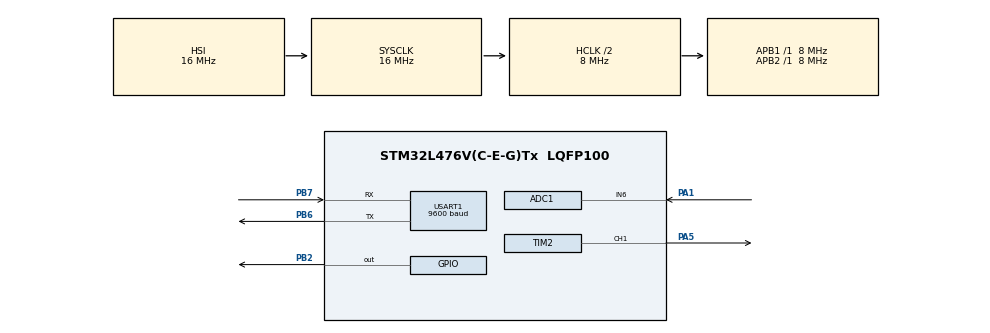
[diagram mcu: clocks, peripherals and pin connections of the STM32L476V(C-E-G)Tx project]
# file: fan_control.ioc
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ADC1.Channel-5\#ChannelRegularConversion=ADC_CHANNEL_6
ADC1.NbrOfConversionFlag=1
ADC1.OffsetNumber-5\#ChannelRegularConversion=ADC_OFFSET_NONE
ADC1.Rank-5\#ChannelRegularConversion=1
ADC1.Resolution=ADC_RESOLUTION_12B
ADC1.SamplingTime-5\#ChannelRegularConversion=ADC_SAMPLETIME_2CYCLES_5
ADC1.master=1
Mcu.Family=STM32L4
Mcu.Name=STM32L476V(C-E-G)Tx
Mcu.Package=LQFP100
NVIC.PriorityGroup=NVIC_PRIORITYGROUP_4
NVIC.TIM8_UP_IRQn=true\:2\:0\:true\:false\:true\:true\:true\:true
NVIC.USART1_IRQn=true\:2\:0\:true\:true\:true\:1\:true\:true\:true
PA1.Signal=ADCx_IN6
PA5.Signal=S_TIM2_CH1
PB2.Signal=GPIO_Output
PB6.Mode=Asynchronous
PB6.Signal=USART1_TX
PB7.Mode=Asynchronous
PB7.Signal=USART1_RX
PH0-OSC_IN\ (PH0).Mode=HSE-External-Oscillator
PH0-OSC_IN\ (PH0).Signal=RCC_OSC_IN
PH1-OSC_OUT\ (PH1).Mode=HSE-External-Oscillator
PH1-OSC_OUT\ (PH1).Signal=RCC_OSC_OUT
ProjectManager.HeapSize=0x200
ProjectManager.StackSize=0x400
ProjectManager.TargetToolchain=STM32CubeIDE
RCC.ADCFreq_Value=64000000
RCC.AHBCLKDivider=RCC_SYSCLK_DIV2
RCC.AHBFreq_Value=8000000
RCC.APB1Freq_Value=8000000
RCC.APB1TimFreq_Value=8000000
RCC.APB2Freq_Value=8000000
RCC.APB2TimFreq_Value=8000000
RCC.CortexFreq_Value=8000000
RCC.HCLKFreq_Value=8000000
RCC.HSE_VALUE=8000000
RCC.HSI_VALUE=16000000
RCC.LSE_VALUE=32768
RCC.MSI_VALUE=4000000
RCC.PLLSourceVirtual=RCC_PLLSOURCE_HSI
RCC.SYSCLKFreq_VALUE=16000000
RCC.SYSCLKSource=RCC_SYSCLKSOURCE_HSI
RCC.USBFreq_Value=64000000
RCC.VCOOutputFreq_Value=128000000
SH.ADCx_IN6.0=ADC1_IN6,IN6-Single-Ended
SH.S_TIM2_CH1.0=TIM2_CH1,PWM Generation1 CH1
TIM2.Channel-PWM\ Generation1\ CH1=TIM_CHANNEL_1
TIM2.Period=999
TIM2.Prescaler=79
TIM8.Period=49999
TIM8.Prescaler=79
USART1.BaudRate=9600
USART1.VirtualMode-Asynchronous=VM_ASYNC
VP_TIM2_VS_ClockSourceINT.Mode=Internal
VP_TIM8_VS_ClockSourceINT.Mode=Internal
board=custom

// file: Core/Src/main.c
/* USER CODE BEGIN Header */
/**
  ******************************************************************************
  * @file           : main.c
  * @brief          : Main program body
  ******************************************************************************
  * @attention
  *
  * Copyright (c) 2023 STMicroelectronics.
  * All rights reserved.
  *
  * This software is licensed under terms that can be found in the LICENSE file
  * in the root directory of this software component.
  * If no LICENSE file comes with this software, it is provided AS-IS.
  *
  ******************************************************************************
  */
/* USER CODE END Header */
#include "main.h"

/* USER CODE BEGIN Includes */
#include"message_handler.h"
#include"test_message_handler.h"
#include"test_mutate_flash.h"
/* USER CODE END Includes */

ADC_HandleTypeDef hadc1;

TIM_HandleTypeDef htim2;
TIM_HandleTypeDef htim8;

UART_HandleTypeDef huart1;

/* USER CODE BEGIN PV */

extern uint32_t control_mode_page_address;
extern uint32_t power_page_address;
extern uint32_t wind_mode_page_address;
unsigned char receiveBuffer[5];
unsigned char sendBuffer[9];
float volatile temperature = 0;

/* USER CODE END PV */

void SystemClock_Config(void);
static void MX_GPIO_Init(void);
static void MX_USART1_UART_Init(void);
static void MX_TIM2_Init(void);
static void MX_ADC1_Init(void);
static void MX_TIM8_Init(void);
static void MX_NVIC_Init(void);

/* USER CODE BEGIN 0 */
void HAL_TIM_PeriodElapsedCallback(TIM_HandleTypeDef *htim){
	HAL_ADC_Start(&hadc1);
	HAL_ADC_PollForConversion(&hadc1, HAL_MAX_DELAY);
	uint16_t value = HAL_ADC_GetValue(&hadc1);
	HAL_ADC_Stop(&hadc1);
	//TO DO: temperature formula
	uint32_t* p_control_mode = (uint32_t*) control_mode_page_address;
	uint32_t* p_power = (uint32_t*) power_page_address;
	float temp = ((float)value) / 4095 * 3300;
	temperature = ((temp - 760.0) / 2.5) + 25;
	if(temp < 0){
		temperature = 0;
	}
	if(*p_control_mode == AUTOMATIC && *p_power == ON){
		if(temperature < 15){
			mutate_wind_mode(LEVEL_2);
		}
		else if(temperature <= 30){
			mutate_wind_mode(LEVEL_1);
		}
		else{
			mutate_wind_mode(LEVEL_0);
		}
	}
}

void HAL_UART_RxCpltCallback(UART_HandleTypeDef *huart){
	uint8_t length = handle_message(receiveBuffer, sendBuffer);
	if(length != 0){
		HAL_UART_Transmit_IT(&huart1, sendBuffer, length);
	}
}

/* USER CODE END 0 */

int main(void)
{

  /* MCU Configuration--------------------------------------------------------*/

  /* Reset of all peripherals, Initializes the Flash interface and the Systick. */
  HAL_Init();

  /* Configure the system clock */
  SystemClock_Config();

  /* Initialize all configured peripherals */
  MX_GPIO_Init();
  MX_USART1_UART_Init();
  MX_TIM2_Init();
  MX_ADC1_Init();
  MX_TIM8_Init();

  /* Initialize interrupts */
  MX_NVIC_Init();
  /* USER CODE BEGIN 2 */
  flash_erase_init();
  check_and_fix_variables();
  HAL_TIM_PWM_Start(&htim2, TIM_CHANNEL_1);
  HAL_TIM_Base_Start_IT(&htim8);
  restore_last_state();
  /* USER CODE END 2 */

  /* Infinite loop */
  /* USER CODE BEGIN WHILE */
  while(1){
	  HAL_UART_Receive(&huart1, receiveBuffer, 2, HAL_MAX_DELAY);
	  if(*(receiveBuffer+1) == 0x04){
		  HAL_UART_Receive(&huart1, receiveBuffer+2, 2, HAL_MAX_DELAY);
	  }
	  else{
		  HAL_UART_Receive(&huart1, receiveBuffer+2, 3, HAL_MAX_DELAY);
	  }
	  uint8_t status = handle_message(receiveBuffer, sendBuffer);
	  if(status != 0){
		  HAL_UART_Transmit(&huart1, sendBuffer, status, HAL_MAX_DELAY);
	  }
  }
    /* USER CODE END WHILE */

    /* USER CODE BEGIN 3 */

//  test_message_handler(receiveBuffer, sendBuffer);
// 	test_get();
//  test_mutate();

  /* USER CODE END 3 */
}

void SystemClock_Config(void)
{
  RCC_OscInitTypeDef RCC_OscInitStruct = {0};
  RCC_ClkInitTypeDef RCC_ClkInitStruct = {0};

  /** Configure the main internal regulator output voltage
  */
  if (HAL_PWREx_ControlVoltageScaling(PWR_REGULATOR_VOLTAGE_SCALE1) != HAL_OK)
  {
    Error_Handler();
  }

  /** Initializes the RCC Oscillators according to the specified parameters
  * in the RCC_OscInitTypeDef structure.
  */
  RCC_OscInitStruct.OscillatorType = RCC_OSCILLATORTYPE_HSI;
  RCC_OscInitStruct.HSIState = RCC_HSI_ON;
  RCC_OscInitStruct.HSICalibrationValue = RCC_HSICALIBRATION_DEFAULT;
  RCC_OscInitStruct.PLL.PLLState = RCC_PLL_NONE;
  if (HAL_RCC_OscConfig(&RCC_OscInitStruct) != HAL_OK)
  {
    Error_Handler();
  }

  /** Initializes the CPU, AHB and APB buses clocks
  */
  RCC_ClkInitStruct.ClockType = RCC_CLOCKTYPE_HCLK|RCC_CLOCKTYPE_SYSCLK
                              |RCC_CLOCKTYPE_PCLK1|RCC_CLOCKTYPE_PCLK2;
  RCC_ClkInitStruct.SYSCLKSource = RCC_SYSCLKSOURCE_HSI;
  RCC_ClkInitStruct.AHBCLKDivider = RCC_SYSCLK_DIV2;
  RCC_ClkInitStruct.APB1CLKDivider = RCC_HCLK_DIV1;
  RCC_ClkInitStruct.APB2CLKDivider = RCC_HCLK_DIV1;

  if (HAL_RCC_ClockConfig(&RCC_ClkInitStruct, FLASH_LATENCY_0) != HAL_OK)
  {
    Error_Handler();
  }
}

/**
  * @brief NVIC Configuration.
  * @retval None
  */
static void MX_NVIC_Init(void)
{
  /* USART1_IRQn interrupt configuration */
  HAL_NVIC_SetPriority(USART1_IRQn, 2, 0);
  HAL_NVIC_EnableIRQ(USART1_IRQn);
}

static void MX_ADC1_Init(void)
{

  ADC_MultiModeTypeDef multimode = {0};
  ADC_ChannelConfTypeDef sConfig = {0};

  /** Common config
  */
  hadc1.Instance = ADC1;
  hadc1.Init.ClockPrescaler = ADC_CLOCK_ASYNC_DIV1;
  hadc1.Init.Resolution = ADC_RESOLUTION_12B;
  hadc1.Init.DataAlign = ADC_DATAALIGN_RIGHT;
  hadc1.Init.ScanConvMode = ADC_SCAN_DISABLE;
  hadc1.Init.EOCSelection = ADC_EOC_SINGLE_CONV;
  hadc1.Init.LowPowerAutoWait = DISABLE;
  hadc1.Init.ContinuousConvMode = DISABLE;
  hadc1.Init.NbrOfConversion = 1;
  hadc1.Init.DiscontinuousConvMode = DISABLE;
  hadc1.Init.ExternalTrigConv = ADC_SOFTWARE_START;
  hadc1.Init.ExternalTrigConvEdge = ADC_EXTERNALTRIGCONVEDGE_NONE;
  hadc1.Init.DMAContinuousRequests = DISABLE;
  hadc1.Init.Overrun = ADC_OVR_DATA_PRESERVED;
  hadc1.Init.OversamplingMode = DISABLE;
  if (HAL_ADC_Init(&hadc1) != HAL_OK)
  {
    Error_Handler();
  }

  /** Configure the ADC multi-mode
  */
  multimode.Mode = ADC_MODE_INDEPENDENT;
  if (HAL_ADCEx_MultiModeConfigChannel(&hadc1, &multimode) != HAL_OK)
  {
    Error_Handler();
  }

  /** Configure Regular Channel
  */
  sConfig.Channel = ADC_CHANNEL_6;
  sConfig.Rank = ADC_REGULAR_RANK_1;
  sConfig.SamplingTime = ADC_SAMPLETIME_2CYCLES_5;
  sConfig.SingleDiff = ADC_SINGLE_ENDED;
  sConfig.OffsetNumber = ADC_OFFSET_NONE;
  sConfig.Offset = 0;
  if (HAL_ADC_ConfigChannel(&hadc1, &sConfig) != HAL_OK)
  {
    Error_Handler();
  }

}

static void MX_TIM2_Init(void)
{

  TIM_ClockConfigTypeDef sClockSourceConfig = {0};
  TIM_MasterConfigTypeDef sMasterConfig = {0};
  TIM_OC_InitTypeDef sConfigOC = {0};

  htim2.Instance = TIM2;
  htim2.Init.Prescaler = 79;
  htim2.Init.CounterMode = TIM_COUNTERMODE_UP;
  htim2.Init.Period = 999;
  htim2.Init.ClockDivision = TIM_CLOCKDIVISION_DIV1;
  htim2.Init.AutoReloadPreload = TIM_AUTORELOAD_PRELOAD_DISABLE;
  if (HAL_TIM_Base_Init(&htim2) != HAL_OK)
  {
    Error_Handler();
  }
  sClockSourceConfig.ClockSource = TIM_CLOCKSOURCE_INTERNAL;
  if (HAL_TIM_ConfigClockSource(&htim2, &sClockSourceConfig) != HAL_OK)
  {
    Error_Handler();
  }
  if (HAL_TIM_PWM_Init(&htim2) != HAL_OK)
  {
    Error_Handler();
  }
  sMasterConfig.MasterOutputTrigger = TIM_TRGO_RESET;
  sMasterConfig.MasterSlaveMode = TIM_MASTERSLAVEMODE_DISABLE;
  if (HAL_TIMEx_MasterConfigSynchronization(&htim2, &sMasterConfig) != HAL_OK)
  {
    Error_Handler();
  }
  sConfigOC.OCMode = TIM_OCMODE_PWM1;
  sConfigOC.Pulse = 0;
  sConfigOC.OCPolarity = TIM_OCPOLARITY_HIGH;
  sConfigOC.OCFastMode = TIM_OCFAST_DISABLE;
  if (HAL_TIM_PWM_ConfigChannel(&htim2, &sConfigOC, TIM_CHANNEL_1) != HAL_OK)
  {
    Error_Handler();
  }
  HAL_TIM_MspPostInit(&htim2);

}

static void MX_TIM8_Init(void)
{

  TIM_ClockConfigTypeDef sClockSourceConfig = {0};
  TIM_MasterConfigTypeDef sMasterConfig = {0};

  htim8.Instance = TIM8;
  htim8.Init.Prescaler = 79;
  htim8.Init.CounterMode = TIM_COUNTERMODE_UP;
  htim8.Init.Period = 49999;
  htim8.Init.ClockDivision = TIM_CLOCKDIVISION_DIV1;
  htim8.Init.RepetitionCounter = 0;
  htim8.Init.AutoReloadPreload = TIM_AUTORELOAD_PRELOAD_DISABLE;
  if (HAL_TIM_Base_Init(&htim8) != HAL_OK)
  {
    Error_Handler();
  }
  sClockSourceConfig.ClockSource = TIM_CLOCKSOURCE_INTERNAL;
  if (HAL_TIM_ConfigClockSource(&htim8, &sClockSourceConfig) != HAL_OK)
  {
    Error_Handler();
  }
  sMasterConfig.MasterOutputTrigger = TIM_TRGO_RESET;
  sMasterConfig.MasterOutputTrigger2 = TIM_TRGO2_RESET;
  sMasterConfig.MasterSlaveMode = TIM_MASTERSLAVEMODE_DISABLE;
  if (HAL_TIMEx_MasterConfigSynchronization(&htim8, &sMasterConfig) != HAL_OK)
  {
    Error_Handler();
  }

}

static void MX_USART1_UART_Init(void)
{

  huart1.Instance = USART1;
  huart1.Init.BaudRate = 9600;
  huart1.Init.WordLength = UART_WORDLENGTH_8B;
  huart1.Init.StopBits = UART_STOPBITS_1;
  huart1.Init.Parity = UART_PARITY_NONE;
  huart1.Init.Mode = UART_MODE_TX_RX;
  huart1.Init.HwFlowCtl = UART_HWCONTROL_NONE;
  huart1.Init.OverSampling = UART_OVERSAMPLING_16;
  huart1.Init.OneBitSampling = UART_ONE_BIT_SAMPLE_DISABLE;
  huart1.AdvancedInit.AdvFeatureInit = UART_ADVFEATURE_NO_INIT;
  if (HAL_UART_Init(&huart1) != HAL_OK)
  {
    Error_Handler();
  }

}

static void MX_GPIO_Init(void)
{
  GPIO_InitTypeDef GPIO_InitStruct = {0};

  /* GPIO Ports Clock Enable */
  __HAL_RCC_GPIOH_CLK_ENABLE();
  __HAL_RCC_GPIOA_CLK_ENABLE();
  __HAL_RCC_GPIOB_CLK_ENABLE();

  /*Configure GPIO pin Output Level */
  HAL_GPIO_WritePin(GPIOB, GPIO_PIN_2, GPIO_PIN_RESET);

  /*Configure GPIO pin : PB2 */
  GPIO_InitStruct.Pin = GPIO_PIN_2;
  GPIO_InitStruct.Mode = GPIO_MODE_OUTPUT_PP;
  GPIO_InitStruct.Pull = GPIO_NOPULL;
  GPIO_InitStruct.Speed = GPIO_SPEED_FREQ_LOW;
  HAL_GPIO_Init(GPIOB, &GPIO_InitStruct);

}

void Error_Handler(void)
{
  __disable_irq();
  while (1)
  {
  }
}
